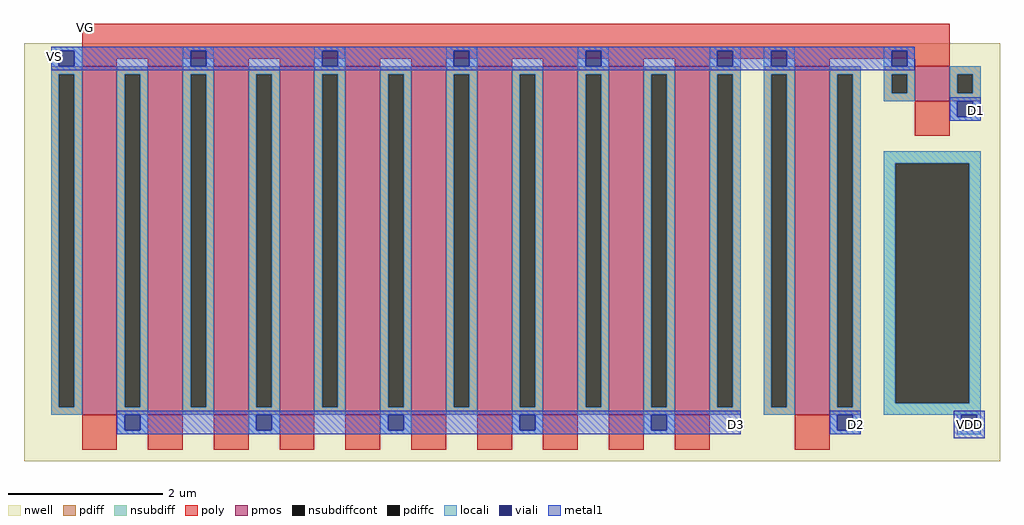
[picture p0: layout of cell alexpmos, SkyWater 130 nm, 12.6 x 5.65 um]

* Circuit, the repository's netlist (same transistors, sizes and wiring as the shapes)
* NGSPICE file created from alexpmos.ext - technology: sky130A

X0 D2 VG VS VDD sky130_fd_pr__pfet_01v8 ad=1.8 pd=9.8 as=1.8 ps=9.8 w=4.5 l=0.45
X1 VS VG D3 VDD sky130_fd_pr__pfet_01v8 ad=1.8 pd=9.8 as=0.9 ps=4.9 w=4.5 l=0.45
X2 VS VG D3 VDD sky130_fd_pr__pfet_01v8 ad=0.9 pd=4.9 as=0.9 ps=4.9 w=4.5 l=0.45
X3 VS VG D3 VDD sky130_fd_pr__pfet_01v8 ad=0.9 pd=4.9 as=0.9 ps=4.9 w=4.5 l=0.45
X4 VS VG D3 VDD sky130_fd_pr__pfet_01v8 ad=0.9 pd=4.9 as=0.9 ps=4.9 w=4.5 l=0.45
X5 VS VG D3 VDD sky130_fd_pr__pfet_01v8 ad=0.9 pd=4.9 as=0.9 ps=4.9 w=4.5 l=0.45
X6 D3 VG VS VDD sky130_fd_pr__pfet_01v8 ad=0.9 pd=4.9 as=0.9 ps=4.9 w=4.5 l=0.45
X7 D3 VG VS VDD sky130_fd_pr__pfet_01v8 ad=0.9 pd=4.9 as=1.8 ps=9.8 w=4.5 l=0.45
X8 D3 VG VS VDD sky130_fd_pr__pfet_01v8 ad=0.9 pd=4.9 as=0.9 ps=4.9 w=4.5 l=0.45
X9 D3 VG VS VDD sky130_fd_pr__pfet_01v8 ad=0.9 pd=4.9 as=0.9 ps=4.9 w=4.5 l=0.45
X10 D3 VG VS VDD sky130_fd_pr__pfet_01v8 ad=0.9 pd=4.9 as=0.9 ps=4.9 w=4.5 l=0.45
X11 D1 VG VS VDD sky130_fd_pr__pfet_01v8 ad=0.18 pd=1.7 as=0.18 ps=1.7 w=0.45 l=0.45

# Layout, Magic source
magic
tech sky130A
<< nwell >>
rect -75 -445 1185 95
<< pmos >>
rect 0 -385 45 65
rect 85 -385 130 65
rect 170 -385 215 65
rect 255 -385 300 65
rect 340 -385 385 65
rect 425 -385 470 65
rect 510 -385 555 65
rect 595 -385 640 65
rect 680 -385 725 65
rect 765 -385 810 65
rect 920 -385 965 65
rect 1075 20 1120 65
<< pdiff >>
rect -40 55 0 65
rect -40 -375 -30 55
rect -10 -375 0 55
rect -40 -385 0 -375
rect 45 55 85 65
rect 45 -375 55 55
rect 75 -375 85 55
rect 45 -385 85 -375
rect 130 55 170 65
rect 130 -375 140 55
rect 160 -375 170 55
rect 130 -385 170 -375
rect 215 55 255 65
rect 215 -375 225 55
rect 245 -375 255 55
rect 215 -385 255 -375
rect 300 55 340 65
rect 300 -375 310 55
rect 330 -375 340 55
rect 300 -385 340 -375
rect 385 55 425 65
rect 385 -375 395 55
rect 415 -375 425 55
rect 385 -385 425 -375
rect 470 55 510 65
rect 470 -375 480 55
rect 500 -375 510 55
rect 470 -385 510 -375
rect 555 55 595 65
rect 555 -375 565 55
rect 585 -375 595 55
rect 555 -385 595 -375
rect 640 55 680 65
rect 640 -375 650 55
rect 670 -375 680 55
rect 640 -385 680 -375
rect 725 55 765 65
rect 725 -375 735 55
rect 755 -375 765 55
rect 725 -385 765 -375
rect 810 55 850 65
rect 810 -375 820 55
rect 840 -375 850 55
rect 810 -385 850 -375
rect 880 55 920 65
rect 880 -375 890 55
rect 910 -375 920 55
rect 880 -385 920 -375
rect 965 55 1005 65
rect 965 -375 975 55
rect 995 -375 1005 55
rect 1035 55 1075 65
rect 1035 30 1045 55
rect 1065 30 1075 55
rect 1035 20 1075 30
rect 1120 55 1160 65
rect 1120 30 1130 55
rect 1150 30 1160 55
rect 1120 20 1160 30
rect 965 -385 1005 -375
<< pdiffc >>
rect -30 -375 -10 55
rect 55 -375 75 55
rect 140 -375 160 55
rect 225 -375 245 55
rect 310 -375 330 55
rect 395 -375 415 55
rect 480 -375 500 55
rect 565 -375 585 55
rect 650 -375 670 55
rect 735 -375 755 55
rect 820 -375 840 55
rect 890 -375 910 55
rect 975 -375 995 55
rect 1045 30 1065 55
rect 1130 30 1150 55
<< nsubdiff >>
rect 1035 -60 1160 -45
rect 1035 -370 1050 -60
rect 1145 -370 1160 -60
rect 1035 -385 1160 -370
<< nsubdiffcont >>
rect 1050 -370 1145 -60
<< poly >>
rect 0 75 1120 120
rect 0 65 45 75
rect 85 65 130 75
rect 170 65 215 75
rect 255 65 300 75
rect 340 65 385 75
rect 425 65 470 75
rect 510 65 555 75
rect 595 65 640 75
rect 680 65 725 75
rect 765 65 810 75
rect 920 65 965 75
rect 1075 65 1120 75
rect 1075 -25 1120 20
rect 0 -430 45 -385
rect 85 -430 130 -385
rect 170 -430 215 -385
rect 255 -430 300 -385
rect 340 -430 385 -385
rect 425 -430 470 -385
rect 510 -430 555 -385
rect 595 -430 640 -385
rect 680 -430 725 -385
rect 765 -430 810 -385
rect 920 -430 965 -385
<< locali >>
rect -40 85 0 90
rect -40 65 -30 85
rect -10 65 0 85
rect 130 85 170 90
rect 130 65 140 85
rect 160 65 170 85
rect 300 85 340 90
rect 300 65 310 85
rect 330 65 340 85
rect 470 85 510 90
rect 470 65 480 85
rect 500 65 510 85
rect 640 85 680 90
rect 640 65 650 85
rect 670 65 680 85
rect 810 85 850 90
rect 810 65 820 85
rect 840 65 850 85
rect -40 55 0 65
rect -40 -375 -30 55
rect -10 -375 0 55
rect -40 -385 0 -375
rect 45 55 85 65
rect 45 -375 55 55
rect 75 -375 85 55
rect 45 -385 85 -375
rect 130 55 170 65
rect 130 -375 140 55
rect 160 -375 170 55
rect 130 -385 170 -375
rect 215 55 255 65
rect 215 -375 225 55
rect 245 -375 255 55
rect 215 -385 255 -375
rect 300 55 340 65
rect 300 -375 310 55
rect 330 -375 340 55
rect 300 -385 340 -375
rect 385 55 425 65
rect 385 -375 395 55
rect 415 -375 425 55
rect 385 -385 425 -375
rect 470 55 510 65
rect 470 -375 480 55
rect 500 -375 510 55
rect 470 -385 510 -375
rect 555 55 595 65
rect 555 -375 565 55
rect 585 -375 595 55
rect 555 -385 595 -375
rect 640 55 680 65
rect 640 -375 650 55
rect 670 -375 680 55
rect 640 -385 680 -375
rect 725 55 765 65
rect 725 -375 735 55
rect 755 -375 765 55
rect 725 -385 765 -375
rect 810 55 850 65
rect 810 -375 820 55
rect 840 -375 850 55
rect 810 -385 850 -375
rect 880 85 920 90
rect 880 65 890 85
rect 910 65 920 85
rect 1035 85 1075 90
rect 1035 65 1045 85
rect 1065 65 1075 85
rect 880 55 920 65
rect 880 -375 890 55
rect 910 -375 920 55
rect 880 -385 920 -375
rect 965 55 1005 65
rect 965 -375 975 55
rect 995 -375 1005 55
rect 1035 55 1075 65
rect 1035 30 1045 55
rect 1065 30 1075 55
rect 1035 20 1075 30
rect 1120 55 1160 65
rect 1120 30 1130 55
rect 1150 30 1160 55
rect 1120 20 1160 30
rect 1120 0 1130 20
rect 1150 0 1160 20
rect 1120 -5 1160 0
rect 965 -385 1005 -375
rect 1035 -60 1160 -45
rect 1035 -370 1050 -60
rect 1145 -370 1160 -60
rect 1035 -385 1160 -370
rect 45 -405 55 -385
rect 75 -405 85 -385
rect 45 -410 85 -405
rect 215 -405 225 -385
rect 245 -405 255 -385
rect 215 -410 255 -405
rect 385 -405 395 -385
rect 415 -405 425 -385
rect 385 -410 425 -405
rect 555 -405 565 -385
rect 585 -405 595 -385
rect 555 -410 595 -405
rect 725 -405 735 -385
rect 755 -405 765 -385
rect 725 -410 765 -405
rect 965 -405 975 -385
rect 995 -405 1005 -385
rect 965 -410 1005 -405
rect 1130 -405 1135 -385
rect 1155 -405 1160 -385
rect 1130 -410 1160 -405
<< viali >>
rect -30 65 -10 85
rect 140 65 160 85
rect 310 65 330 85
rect 480 65 500 85
rect 650 65 670 85
rect 820 65 840 85
rect 890 65 910 85
rect 1045 65 1065 85
rect 1130 0 1150 20
rect 55 -405 75 -385
rect 225 -405 245 -385
rect 395 -405 415 -385
rect 565 -405 585 -385
rect 735 -405 755 -385
rect 975 -405 995 -385
rect 1135 -405 1155 -385
<< metal1 >>
rect -40 85 1075 90
rect -40 65 -30 85
rect -10 65 140 85
rect 160 65 310 85
rect 330 65 480 85
rect 500 65 650 85
rect 670 65 820 85
rect 840 65 890 85
rect 910 65 1045 85
rect 1065 65 1075 85
rect -40 60 1075 65
rect 1120 20 1160 25
rect 1120 0 1130 20
rect 1150 0 1160 20
rect 1120 -5 1160 0
rect 45 -385 850 -380
rect 45 -405 55 -385
rect 75 -405 225 -385
rect 245 -405 395 -385
rect 415 -405 565 -385
rect 585 -405 735 -385
rect 755 -405 850 -385
rect 45 -410 850 -405
rect 965 -385 1005 -380
rect 965 -405 975 -385
rect 995 -405 1005 -385
rect 965 -410 1005 -405
rect 1125 -385 1165 -380
rect 1125 -405 1135 -385
rect 1155 -405 1165 -385
rect 1125 -415 1165 -405
<< labels >>
rlabel poly 0 110 10 120 7 VG
port 1 w
rlabel metal1 -40 65 -30 90 7 VS
port 2 w
rlabel metal1 s 1130 -410 1160 -385 3 VDD
port 3 e
rlabel metal1 1150 -5 1160 20 3 D1
port 4 e
rlabel metal1 995 -410 1005 -385 5 D2
port 5 s
rlabel metal1 840 -410 850 -385 5 D3
port 6 s
<< end >>
